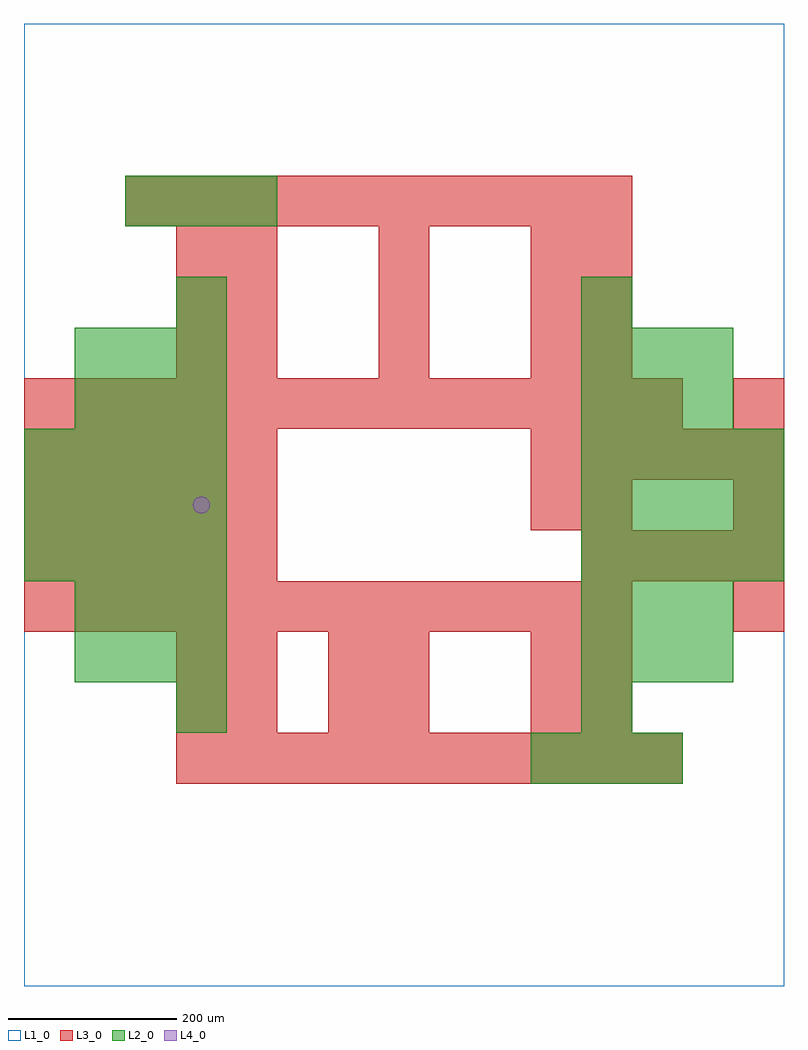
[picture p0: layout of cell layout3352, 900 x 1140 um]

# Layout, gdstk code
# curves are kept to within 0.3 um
import gdstk
lib = gdstk.Library(unit=1e-6, precision=1e-09)
def R(c, l, rs):  # rectangles x0, y0, x1, y1
    for r in rs: c.add(gdstk.rectangle(r[:2], r[2:], *l))
def A(c, l, x, y, w, h, nx, ny, dx, dy):  # array of equal rectangles
    R(c, l, [(x+i*dx, y+j*dy, x+i*dx+w, y+j*dy+h) for i in range(nx) for j in range(ny)])
def P(c, l, *ps):  # polygons
    for p in ps: c.add(gdstk.Polygon(p, *l))
L1_0 = (1, 0)
L2_0 = (2, 0)
L3_0 = (3, 0)
L4_0 = (4, 0)

layout3352 = lib.new_cell('layout3352')
R(layout3352, L1_0, [(0,0,900,1140)])
A(layout3352, L2_0, 600, 240, 60, 60, 3, 1, 60, 0)
A(layout3352, L2_0, 60, 360, 60, 60, 3, 2, 60, 60)
A(layout3352, L2_0, 660, 360, 60, 60, 3, 2, 60, 60)
A(layout3352, L2_0, 0, 480, 60, 60, 4, 3, 60, 60)
A(layout3352, L2_0, 660, 480, 60, 60, 4, 3, 60, 60)
A(layout3352, L2_0, 60, 660, 60, 60, 3, 2, 60, 60)
A(layout3352, L2_0, 660, 660, 60, 60, 3, 2, 60, 60)
A(layout3352, L2_0, 120, 900, 60, 60, 3, 1, 60, 0)
R(layout3352, L2_0, [(180,300,240,360), (660,300,720,360), (180,780,240,840), (660,780,720,840)])
A(layout3352, L3_0, 180, 240, 60, 60, 10, 1, 60, 0)
A(layout3352, L3_0, 660, 360, 60, 60, 1, 3, 0, 180)
A(layout3352, L3_0, 0, 420, 60, 60, 12, 1, 60, 0)
A(layout3352, L3_0, 840, 420, 60, 60, 1, 3, 0, 120)
A(layout3352, L3_0, 0, 480, 60, 60, 5, 3, 60, 60)
A(layout3352, L3_0, 660, 480, 60, 60, 4, 1, 60, 0)
A(layout3352, L3_0, 600, 600, 60, 60, 5, 1, 60, 0)
A(layout3352, L3_0, 0, 660, 60, 60, 13, 1, 60, 0)
A(layout3352, L3_0, 180, 720, 60, 60, 1, 3, 0, 60)
A(layout3352, L3_0, 240, 720, 60, 60, 3, 3, 180, 60)
A(layout3352, L3_0, 120, 900, 60, 60, 10, 1, 60, 0)
R(layout3352, L3_0, [(180,300,240,360), (240,300,300,360), (360,300,420,360), (420,300,480,360), (600,300,660,360), (660,300,720,360), (180,360,240,420), (240,360,300,420), (360,360,420,420), (420,360,480,420), (600,360,660,420), (600,540,660,600), (660,780,720,840), (660,840,720,900)])
P(layout3352, L4_0, [(220,570),(219.239,573.827),(217.071,577.071),(213.827,579.239),(210,580),(206.173,579.239),(202.929,577.071),(200.761,573.827),(200,570),(200.761,566.173),(202.929,562.929),(206.173,560.761),(210,560),(213.827,560.761),(217.071,562.929),(219.239,566.173)])

lib.write_gds('layout3352.gds')
